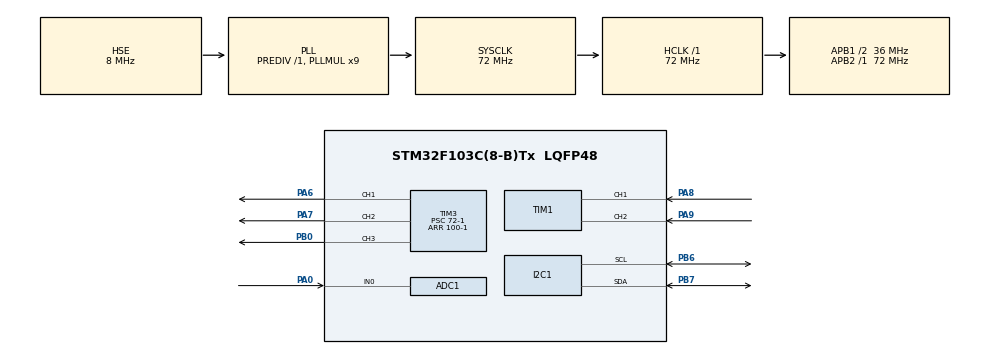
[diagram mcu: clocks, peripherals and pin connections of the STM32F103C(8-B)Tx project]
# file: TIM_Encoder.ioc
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ADC1.Channel-0\#ChannelRegularConversion=ADC_CHANNEL_0
ADC1.NbrOfConversionFlag=1
ADC1.Rank-0\#ChannelRegularConversion=1
ADC1.SamplingTime-0\#ChannelRegularConversion=ADC_SAMPLETIME_1CYCLE_5
ADC1.master=1
Mcu.Family=STM32F1
Mcu.Name=STM32F103C(8-B)Tx
Mcu.Package=LQFP48
NVIC.PriorityGroup=NVIC_PRIORITYGROUP_4
PA0-WKUP.Signal=ADCx_IN0
PA13.Mode=Serial_Wire
PA13.Signal=SYS_JTMS-SWDIO
PA14.Mode=Serial_Wire
PA14.Signal=SYS_JTCK-SWCLK
PA6.Signal=S_TIM3_CH1
PA7.Signal=S_TIM3_CH2
PA8.Signal=S_TIM1_CH1
PA9.Signal=S_TIM1_CH2
PB0.Signal=S_TIM3_CH3
PB6.Mode=I2C
PB6.Signal=I2C1_SCL
PB7.Mode=I2C
PB7.Signal=I2C1_SDA
PD0-OSC_IN.Mode=HSE-External-Oscillator
PD0-OSC_IN.Signal=RCC_OSC_IN
PD1-OSC_OUT.Mode=HSE-External-Oscillator
PD1-OSC_OUT.Signal=RCC_OSC_OUT
ProjectManager.HeapSize=0x200
ProjectManager.StackSize=0x400
ProjectManager.TargetToolchain=CMake
RCC.ADCPresc=RCC_ADCPCLK2_DIV6
RCC.AHBFreq_Value=72000000
RCC.APB1CLKDivider=RCC_HCLK_DIV2
RCC.APB1Freq_Value=36000000
RCC.APB1TimFreq_Value=72000000
RCC.APB2Freq_Value=72000000
RCC.APB2TimFreq_Value=72000000
RCC.HCLKFreq_Value=72000000
RCC.PLLMUL=RCC_PLL_MUL9
RCC.PLLSourceVirtual=RCC_PLLSOURCE_HSE
RCC.SYSCLKFreq_VALUE=72000000
RCC.SYSCLKSource=RCC_SYSCLKSOURCE_PLLCLK
RCC.USBFreq_Value=72000000
SH.ADCx_IN0.0=ADC1_IN0,IN0
SH.S_TIM1_CH1.0=TIM1_CH1,Encoder_Interface
SH.S_TIM1_CH2.0=TIM1_CH2,Encoder_Interface
SH.S_TIM3_CH1.0=TIM3_CH1,PWM Generation1 CH1
SH.S_TIM3_CH2.0=TIM3_CH2,PWM Generation2 CH2
SH.S_TIM3_CH3.0=TIM3_CH3,PWM Generation3 CH3
TIM1.IC1Filter=15
TIM1.IC2Filter=15
TIM3.Channel-PWM\ Generation1\ CH1=TIM_CHANNEL_1
TIM3.Channel-PWM\ Generation2\ CH2=TIM_CHANNEL_2
TIM3.Channel-PWM\ Generation3\ CH3=TIM_CHANNEL_3
TIM3.Period=100-1
TIM3.Prescaler=72-1
VP_TIM3_VS_ClockSourceINT.Mode=Internal
board=custom

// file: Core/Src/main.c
/* USER CODE BEGIN Header */
/**
  ******************************************************************************
  * @file           : main.c
  * @brief          : Main program body
  ******************************************************************************
  * @attention
  *
  * Copyright (c) 2026 STMicroelectronics.
  * All rights reserved.
  *
  * This software is licensed under terms that can be found in the LICENSE file
  * in the root directory of this software component.
  * If no LICENSE file comes with this software, it is provided AS-IS.
  *
  ******************************************************************************
  */
/* USER CODE END Header */
#include "main.h"
#include "adc.h"
#include "i2c.h"
#include "tim.h"
#include "gpio.h"

/* USER CODE BEGIN Includes */
#include <stdio.h>
#include "oled.h"
#include "font.h"
/* USER CODE END Includes */

/* USER CODE BEGIN PD */
/* ---------- 板载 LED：PC13，低电平点亮 ---------- */
#define LED_GPIO_Port     GPIOC
#define LED_Pin           GPIO_PIN_13

/* ---------- 电位器控制 LED 的阈值（带迟滞，防止临界点来回跳）---------- */
#define LED_ON_PCT        50U   /* 百分比 >= 50 时点亮 */
#define LED_OFF_PCT       47U   /* 百分比 <= 47 时熄灭，中间 48~49 保持原状态 */

/* ---------- 每次读 8 次 ADC 取平均，压掉单次读数的抖动 ---------- */
#define ADC_AVG_N         8U

/* ---------- 主循环刷新周期 ---------- */
#define UI_PERIOD_MS      50U
/* USER CODE END PD */

/* USER CODE BEGIN PV */
static uint8_t  led_on       = 0U;   /* 当前 LED 状态：0=灭 1=亮 */
static uint32_t ui_last_tick = 0U;   /* 上次刷新屏幕的时刻 */
/* USER CODE END PV */

void SystemClock_Config(void);

/* USER CODE BEGIN 0 */

/**
 * @brief  把 PC13 配成推挽输出
 * @note   CubeMX 里没勾这个引脚（它不在外设列表里），所以手动初始化。
 *         PC13 是板载 LED，低电平点亮，先把电平写高 = 熄灭。
 */
static void led_gpio_init(void)
{
  GPIO_InitTypeDef gpio = {0};

  __HAL_RCC_GPIOC_CLK_ENABLE();

  gpio.Pin   = LED_Pin;
  gpio.Mode  = GPIO_MODE_OUTPUT_PP;
  gpio.Pull  = GPIO_NOPULL;
  gpio.Speed = GPIO_SPEED_FREQ_LOW;
  HAL_GPIO_Init(LED_GPIO_Port, &gpio);

  HAL_GPIO_WritePin(LED_GPIO_Port, LED_Pin, GPIO_PIN_SET);  /* 高电平 = 灭 */
}

/**
 * @brief  连续读 ADC_AVG_N 次取平均
 * @note   单次读数会有 ±2~3 个字的抖动，取平均后屏幕上的数字才不来回跳。
 *         没读到就跳过这一次，最后仍然除以 ADC_AVG_N，不会除零。
 */
static uint16_t adc_read_avg(void)
{
  uint32_t sum = 0U;
  uint8_t  i;

  for (i = 0U; i < ADC_AVG_N; i++)
  {
    HAL_ADC_Start(&hadc1);
    if (HAL_ADC_PollForConversion(&hadc1, 10U) == HAL_OK)
    {
      sum += HAL_ADC_GetValue(&hadc1);
    }
    HAL_ADC_Stop(&hadc1);
  }

  return (uint16_t)(sum / ADC_AVG_N);
}

/**
 * @brief  原始值 0~4095 换算成百分比 0~100
 */
static uint8_t adc_to_percent(uint16_t raw)
{
  uint32_t pct = (uint32_t)raw * 100U / 4095U;

  if (pct > 100U)
  {
    pct = 100U;
  }
  return (uint8_t)pct;
}

/**
 * @brief  画一屏：标题 / 大号百分比 / 进度条 / 原始值 + LED 状态
 */
static void ui_draw(uint16_t raw, uint8_t pct)
{
  char    buf[16];
  uint8_t bar_w;

  OLED_NewFrame();

  /* 第 1 行：标题（12x6 字体，一行最多 21 个字符） */
  OLED_PrintASCIIString(0, 0, "ROTARY SENSOR", &afont12x6, OLED_COLOR_NORMAL);

  /* 第 2 行：大号百分比（24x12 字体，4 个字符占 48 像素） */
  sprintf(buf, "%3u%%", (unsigned)pct);
  OLED_PrintASCIIString(4, 13, buf, &afont24x12, OLED_COLOR_NORMAL);

  /* 第 3 行：进度条，外框固定 126x10，内部按百分比填充 */
  OLED_DrawRectangle(0, 39, 126, 10, OLED_COLOR_NORMAL);
  bar_w = (uint8_t)((uint16_t)pct * 122U / 100U);
  if (bar_w > 0U)
  {
    OLED_DrawFilledRectangle(2, 41, bar_w, 6, OLED_COLOR_NORMAL);
  }

  /* 第 4 行：ADC 原始值 + LED 状态（8x6 字体，一行最多 21 个字符） */
  sprintf(buf, "ADC %4u", (unsigned)raw);
  OLED_PrintASCIIString(0, 52, buf, &afont8x6, OLED_COLOR_NORMAL);
  OLED_PrintASCIIString(72, 52, (led_on != 0U) ? "LED ON" : "LED OFF",
                        &afont8x6, OLED_COLOR_NORMAL);

  OLED_ShowFrame();
}

/**
 * @brief  一次完整的「采样 -> 判断 -> 输出 -> 显示」
 */
static void app_task(void)
{
  uint16_t raw = adc_read_avg();
  uint8_t  pct = adc_to_percent(raw);

  /* 迟滞判断：>=50% 点亮、<=47% 熄灭，48~49% 之间保持原状态。
     没有这两个点的差值，旋钮停在 50% 附近时 LED 会疯狂闪烁。 */
  if ((led_on == 0U) && (pct >= LED_ON_PCT))
  {
    led_on = 1U;
  }
  else if ((led_on != 0U) && (pct <= LED_OFF_PCT))
  {
    led_on = 0U;
  }

  /* PC13 低电平点亮 */
  HAL_GPIO_WritePin(LED_GPIO_Port, LED_Pin,
                    (led_on != 0U) ? GPIO_PIN_RESET : GPIO_PIN_SET);

  /* 三路 PWM 占空比同步跟随电位器：外接 LED 时就是连续调光 */
  __HAL_TIM_SET_COMPARE(&htim3, TIM_CHANNEL_1, pct);
  __HAL_TIM_SET_COMPARE(&htim3, TIM_CHANNEL_2, pct);
  __HAL_TIM_SET_COMPARE(&htim3, TIM_CHANNEL_3, pct);

  ui_draw(raw, pct);
}

/* USER CODE END 0 */

int main(void)
{

  /* MCU Configuration--------------------------------------------------------*/

  /* Reset of all peripherals, Initializes the Flash interface and the Systick. */
  HAL_Init();

  /* Configure the system clock */
  SystemClock_Config();

  /* Initialize all configured peripherals */
  MX_GPIO_Init();
  MX_ADC1_Init();
  MX_TIM1_Init();
  MX_I2C1_Init();
  MX_TIM3_Init();
  /* USER CODE BEGIN 2 */
  /* OLED 上电比 MCU 慢，先等 20ms 再初始化，否则第一批指令会丢 */
  HAL_Delay(20);
  OLED_Init();

  /* 板载 LED（PC13）在 CubeMX 里没配，这里手动初始化 */
  led_gpio_init();

  /* 三路 PWM 一起启动：CH1=PA6 / CH2=PA7 / CH3=PB0，接哪一路都有输出 */
  HAL_TIM_PWM_Start(&htim3, TIM_CHANNEL_1);
  HAL_TIM_PWM_Start(&htim3, TIM_CHANNEL_2);
  HAL_TIM_PWM_Start(&htim3, TIM_CHANNEL_3);

  /* 先画一帧，避免开机后屏幕空白一段时间 */
  app_task();
  ui_last_tick = HAL_GetTick();
  /* USER CODE END 2 */

  /* Infinite loop */
  while (1)
  {

    /* USER CODE BEGIN 3 */
    /* 每 50ms 采样并刷新一次。用 HAL_GetTick 判断而不是 HAL_Delay，
       这样以后要往主循环里加别的任务不会被卡住。 */
    if ((HAL_GetTick() - ui_last_tick) >= UI_PERIOD_MS)
    {
      ui_last_tick = HAL_GetTick();
      app_task();
    }
  }
  /* USER CODE END 3 */
}

void SystemClock_Config(void)
{
  RCC_OscInitTypeDef RCC_OscInitStruct = {0};
  RCC_ClkInitTypeDef RCC_ClkInitStruct = {0};
  RCC_PeriphCLKInitTypeDef PeriphClkInit = {0};

  /** Initializes the RCC Oscillators according to the specified parameters
  * in the RCC_OscInitTypeDef structure.
  */
  RCC_OscInitStruct.OscillatorType = RCC_OSCILLATORTYPE_HSE;
  RCC_OscInitStruct.HSEState = RCC_HSE_ON;
  RCC_OscInitStruct.HSEPredivValue = RCC_HSE_PREDIV_DIV1;
  RCC_OscInitStruct.HSIState = RCC_HSI_ON;
  RCC_OscInitStruct.PLL.PLLState = RCC_PLL_ON;
  RCC_OscInitStruct.PLL.PLLSource = RCC_PLLSOURCE_HSE;
  RCC_OscInitStruct.PLL.PLLMUL = RCC_PLL_MUL9;
  if (HAL_RCC_OscConfig(&RCC_OscInitStruct) != HAL_OK)
  {
    Error_Handler();
  }

  /** Initializes the CPU, AHB and APB buses clocks
  */
  RCC_ClkInitStruct.ClockType = RCC_CLOCKTYPE_HCLK|RCC_CLOCKTYPE_SYSCLK
                              |RCC_CLOCKTYPE_PCLK1|RCC_CLOCKTYPE_PCLK2;
  RCC_ClkInitStruct.SYSCLKSource = RCC_SYSCLKSOURCE_PLLCLK;
  RCC_ClkInitStruct.AHBCLKDivider = RCC_SYSCLK_DIV1;
  RCC_ClkInitStruct.APB1CLKDivider = RCC_HCLK_DIV2;
  RCC_ClkInitStruct.APB2CLKDivider = RCC_HCLK_DIV1;

  if (HAL_RCC_ClockConfig(&RCC_ClkInitStruct, FLASH_LATENCY_2) != HAL_OK)
  {
    Error_Handler();
  }
  PeriphClkInit.PeriphClockSelection = RCC_PERIPHCLK_ADC;
  PeriphClkInit.AdcClockSelection = RCC_ADCPCLK2_DIV6;
  if (HAL_RCCEx_PeriphCLKConfig(&PeriphClkInit) != HAL_OK)
  {
    Error_Handler();
  }
}

void Error_Handler(void)
{
  __disable_irq();
  while (1)
  {
  }
}
